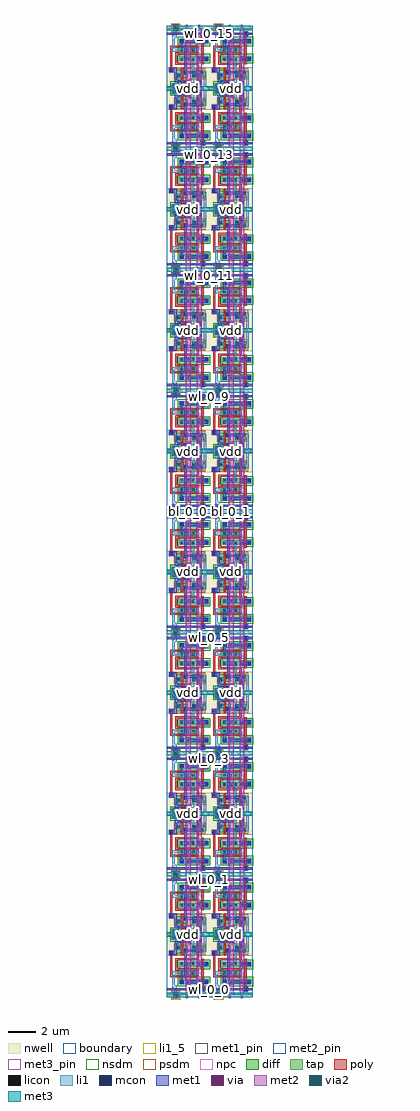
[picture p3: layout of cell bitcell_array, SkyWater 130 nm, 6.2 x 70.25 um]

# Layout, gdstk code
import gdstk
lib = gdstk.Library(unit=1e-6, precision=1e-09)
def R(c, l, rs):  # rectangles x0, y0, x1, y1
    for r in rs: c.add(gdstk.rectangle(r[:2], r[2:], *l))
def A(c, l, x, y, w, h, nx, ny, dx, dy):  # array of equal rectangles
    R(c, l, [(x+i*dx, y+j*dy, x+i*dx+w, y+j*dy+h) for i in range(nx) for j in range(ny)])
nwell = (64, 20)
diff = (65, 20)
tap = (65, 44)
poly = (66, 20)
licon = (66, 44)
li1_5 = (67, 5)
li1 = (67, 20)
mcon = (67, 44)
met1_pin = (68, 16)
met1 = (68, 20)
via = (68, 44)
met2_pin = (69, 16)
met2 = (69, 20)
via2 = (69, 44)
met3_pin = (70, 16)
met3 = (70, 20)
nsdm = (93, 44)
psdm = (94, 20)
npc = (95, 20)
boundary = (235, 4)

cell_1rw = lib.new_cell('cell_1rw')
R(cell_1rw, nwell, [(0,2.83,3.08,4.68)])
R(cell_1rw, diff, [(0.9,0.76,2.99,1.18), (0.9,1.18,2.16,1.99), (0.9,1.99,2.99,2.41), (0.66,3.02,1.51,3.57), (1.79,3.02,2.64,3.57)])
R(cell_1rw, tap, [(0.42,-0.2,0.83,0.21), (0.36,3.97,0.89,4.5)])
R(cell_1rw, poly, [(2.41,0.25,2.74,0.33), (0,0.33,3.08,0.48), (2.41,0.48,2.74,0.58), (2.5,0.58,2.65,2.6), (0.24,1.26,2.29,1.41), (0.24,1.41,0.39,2.86), (0.6,1.76,2.29,1.91), (0.6,1.91,0.75,2.5), (0.6,2.5,2.29,2.65), (2.14,2.65,2.29,3.75), (0.15,2.86,0.48,3.19), (1.01,2.87,1.16,3.83), (1.4,3.75,1.73,3.83), (2.14,3.75,2.47,4.08), (1.01,3.83,1.73,3.98), (1.4,3.98,1.73,4.08)])
A(cell_1rw, licon, 0.98, 0.84, 0.17, 0.17, 1, 3, 0, 0.66)
R(cell_1rw, licon, [(0.54,-0.08,0.71,0.09), (2.49,0.33,2.66,0.5), (2.24,0.84,2.41,1.01), (2.75,0.84,2.92,1.01), (1.41,1.5,1.58,1.67), (1.79,1.5,1.96,1.67), (1.44,2.16,1.61,2.33), (1.79,2.16,1.96,2.33), (2.74,2.16,2.91,2.33), (0.23,2.94,0.4,3.11), (1.26,3.1,1.43,3.27), (2.39,3.1,2.56,3.27), (0.74,3.32,0.91,3.49), (1.87,3.32,2.04,3.49), (1.48,3.83,1.65,4), (2.22,3.83,2.39,4), (0.54,4.15,0.71,4.32)])
R(cell_1rw, li1_5, [(1.2,3.12,1.34,3.25), (1.86,3.4,2,3.53)])
R(cell_1rw, li1, [(0.46,-0.16,0.79,-0.08), (0.45,-0.08,0.8,0.09), (0.46,0.09,0.79,0.17), (0.54,0.17,0.71,0.52), (2.41,0.25,2.74,0.58), (0.39,0.52,0.71,0.69), (0.39,0.69,0.56,1.53), (0.9,0.76,2.45,1.09), (2.67,0.76,2.99,1.17), (0.9,1.42,2.04,1.53), (0.39,1.53,2.04,1.7), (0.9,1.7,2.04,1.75), (2.66,1.99,2.99,2.41), (0.9,2.08,2.24,2.41), (1.79,2.41,1.96,3.24), (0.15,2.86,0.48,3.19), (1.18,3.02,1.51,3.35), (2.31,3.02,2.64,3.1), (2.31,3.1,2.81,3.35), (0.66,3.24,0.99,3.57), (1.79,3.24,2.12,3.57), (2.64,3.35,2.81,4.28), (0.73,3.57,0.9,4.07), (1.79,3.57,1.96,3.75), (1.4,3.75,1.96,3.93), (2.14,3.75,2.47,4.08), (1.4,3.93,1.73,4.08), (0.46,4.07,0.9,4.28), (0,4.28,3.08,4.45)])
R(cell_1rw, mcon, [(0.54,-0.08,0.71,0.09), (2.49,0.33,2.66,0.5), (0.98,0.84,1.15,1.01), (2.75,0.84,2.92,1.01), (2.74,2.16,2.91,2.33), (0.23,2.94,0.4,3.11), (1.26,3.1,1.43,3.27), (1.48,3.83,1.65,4), (2.22,3.83,2.39,4), (0.54,4.15,0.71,4.32)])
R(cell_1rw, met1_pin, [(2.52,0.36,2.69,0.51)])
R(cell_1rw, met1, [(0.45,-0.17,0.8,0.18), (2.43,0.27,2.72,0.33), (0,0.33,3.08,0.48), (0,0.33,3.08,0.48), (2.43,0.48,2.72,0.56), (1.36,0.75,1.71,0.84), (0.92,0.78,1.21,1.07), (2.69,0.78,2.98,0.84), (1.36,0.84,2.98,1.01), (1.36,1.01,1.71,1.1), (2.69,1.01,2.98,1.07), (0.98,1.07,1.15,1.25), (0.98,1.25,1.43,1.39), (1.26,1.39,1.43,3.04), (2.15,2.07,2.5,2.16), (2.68,2.1,2.97,2.16), (2.15,2.16,2.97,2.33), (2.15,2.33,2.5,2.42), (2.68,2.33,2.97,2.39), (0.15,2.86,0.72,3.19), (1.2,3.04,1.49,3.1), (1.2,3.1,2.39,3.27), (0.56,3.19,0.72,3.75), (1.2,3.27,1.49,3.33), (2.22,3.27,2.39,3.77), (0.56,3.75,1.43,3.77), (0.56,3.77,1.71,3.91), (2.16,3.77,2.45,4.06), (1.42,3.91,1.71,4.06), (0.45,4.06,0.8,4.41)])
R(cell_1rw, via, [(0.55,-0.07,0.7,0.08), (1.46,0.85,1.61,1), (2.25,2.17,2.4,2.32), (0.55,4.16,0.7,4.31)])
R(cell_1rw, met2_pin, [(1.42,0.84,1.59,0.99), (2.22,2.14,2.39,2.29)])
R(cell_1rw, met2, [(1.36,-0.24,1.5,0.75), (2.24,-0.24,2.38,2.07), (0.4,-0.22,0.85,0.23), (1.36,0.75,1.71,1.1), (1.36,0.75,1.71,1.1), (1.36,1.1,1.5,4.68), (2.15,2.07,2.5,2.42), (2.15,2.07,2.5,2.42), (2.24,2.42,2.38,4.68), (0.4,4.01,0.85,4.46)])
R(cell_1rw, via2, [(0.525,-0.095,0.725,0.105), (0.525,4.135,0.725,4.335)])
R(cell_1rw, met3_pin, [(0.51,-0.09,0.68,0.06), (0.55,4.21,0.72,4.36)])
R(cell_1rw, met3, [(0.38,-0.24,0.86,-0.15), (0,-0.15,3.08,0.15), (0,-0.15,3.08,0.15), (0.38,0.15,0.87,0.25), (0.36,3.97,0.89,4.2), (0,4.2,3.08,4.5), (0,4.2,3.08,4.5)])
R(cell_1rw, nsdm, [(0.775,0.635,3.115,1.305), (0.775,1.305,2.285,1.865), (0.775,1.865,3.115,2.535), (0.235,3.845,1.015,4.625)])
R(cell_1rw, psdm, [(0.295,-0.325,0.955,0.335), (0.535,2.895,2.765,3.695)])
R(cell_1rw, npc, [(2.39,0.23,2.76,0.6), (0.13,2.84,0.5,3.21), (1.38,3.73,1.75,4.1), (2.12,3.73,2.49,4.1)])
R(cell_1rw, boundary, [(0,0,3.08,4.35)])
cell_1rw.add(gdstk.Label('Q_bar', (1.93,3.465), layer=67, texttype=5))
cell_1rw.add(gdstk.Label('Q', (1.27,3.185), layer=67, texttype=5))
cell_1rw.add(gdstk.Label('bl', (1.505,0.915), layer=69, texttype=16))
cell_1rw.add(gdstk.Label('br', (2.305,2.215), layer=69, texttype=16))
cell_1rw.add(gdstk.Label('wl', (2.605,0.435), layer=68, texttype=16))
cell_1rw.add(gdstk.Label('vdd', (0.635,4.285), layer=70, texttype=16))
cell_1rw.add(gdstk.Label('gnd', (0.595,-0.015), layer=70, texttype=16))
cell_1rw.add(gdstk.Label('bl', (1.535,0.925), layer=69, texttype=20))
cell_1rw.add(gdstk.Label('br', (2.325,2.245), layer=69, texttype=20))
cell_1rw.add(gdstk.Label('wl', (1.54,0.405), layer=68, texttype=20))
cell_1rw.add(gdstk.Label('vdd', (1.54,4.35), layer=70, texttype=20))
cell_1rw.add(gdstk.Label('gnd', (1.54,0), layer=70, texttype=20))

bitcell_array = lib.new_cell('bitcell_array')
R(bitcell_array, met1, [(0,0.33,6.16,0.48), (0,8.22,6.16,8.37), (0,9.03,6.16,9.18), (0,16.92,6.16,17.07), (0,17.73,6.16,17.88), (0,25.62,6.16,25.77), (0,26.43,6.16,26.58), (0,34.32,6.16,34.47), (0,35.13,6.16,35.28), (0,43.02,6.16,43.17), (0,43.83,6.16,43.98), (0,51.72,6.16,51.87), (0,52.53,6.16,52.68), (0,60.42,6.16,60.57), (0,61.23,6.16,61.38), (0,69.12,6.16,69.27)])
R(bitcell_array, met2, [(1.36,0,1.71,69.6), (2.15,0,2.5,69.6), (4.44,0,4.79,69.6), (5.23,0,5.58,69.6)])
A(bitcell_array, met3, 0, 4.2, 3.08, 0.3, 1, 3, 0, 4.35)
A(bitcell_array, met3, 3.08, 4.2, 3.08, 0.3, 1, 3, 0, 4.35)
A(bitcell_array, met3, 0, 12.9, 3.08, 0.3, 1, 5, 0, 4.35)
A(bitcell_array, met3, 3.08, 12.9, 3.08, 0.3, 1, 5, 0, 4.35)
A(bitcell_array, met3, 0, 30.3, 3.08, 0.3, 1, 3, 0, 4.35)
A(bitcell_array, met3, 3.08, 30.3, 3.08, 0.3, 1, 3, 0, 4.35)
A(bitcell_array, met3, 0, 39, 3.08, 0.3, 1, 5, 0, 4.35)
A(bitcell_array, met3, 3.08, 39, 3.08, 0.3, 1, 5, 0, 4.35)
A(bitcell_array, met3, 0, 56.4, 3.08, 0.3, 1, 3, 0, 4.35)
A(bitcell_array, met3, 3.08, 56.4, 3.08, 0.3, 1, 3, 0, 4.35)
R(bitcell_array, met3, [(0,-0.15,3.08,0.15), (3.08,-0.15,6.16,0.15), (0,4.2,3.08,4.5), (3.08,4.2,6.16,4.5), (0,65.1,3.08,65.4), (3.08,65.1,6.16,65.4), (0,69.45,3.08,69.75), (3.08,69.45,6.16,69.75)])
R(bitcell_array, boundary, [(0,0,6.16,69.6)])
bitcell_array.add(gdstk.Reference(cell_1rw, (0,0)))
bitcell_array.add(gdstk.Reference(cell_1rw, (0,8.7), x_reflection=True))
bitcell_array.add(gdstk.Reference(cell_1rw, (0,8.7)))
bitcell_array.add(gdstk.Reference(cell_1rw, (0,17.4), x_reflection=True))
bitcell_array.add(gdstk.Reference(cell_1rw, (0,17.4)))
bitcell_array.add(gdstk.Reference(cell_1rw, (0,26.1), x_reflection=True))
bitcell_array.add(gdstk.Reference(cell_1rw, (0,26.1)))
bitcell_array.add(gdstk.Reference(cell_1rw, (0,34.8), x_reflection=True))
bitcell_array.add(gdstk.Reference(cell_1rw, (0,34.8)))
bitcell_array.add(gdstk.Reference(cell_1rw, (0,43.5), x_reflection=True))
bitcell_array.add(gdstk.Reference(cell_1rw, (0,43.5)))
bitcell_array.add(gdstk.Reference(cell_1rw, (0,52.2), x_reflection=True))
bitcell_array.add(gdstk.Reference(cell_1rw, (0,52.2)))
bitcell_array.add(gdstk.Reference(cell_1rw, (0,60.9), x_reflection=True))
bitcell_array.add(gdstk.Reference(cell_1rw, (0,60.9)))
bitcell_array.add(gdstk.Reference(cell_1rw, (0,69.6), x_reflection=True))
bitcell_array.add(gdstk.Reference(cell_1rw, (3.08,0)))
bitcell_array.add(gdstk.Reference(cell_1rw, (3.08,8.7), x_reflection=True))
bitcell_array.add(gdstk.Reference(cell_1rw, (3.08,8.7)))
bitcell_array.add(gdstk.Reference(cell_1rw, (3.08,17.4), x_reflection=True))
bitcell_array.add(gdstk.Reference(cell_1rw, (3.08,17.4)))
bitcell_array.add(gdstk.Reference(cell_1rw, (3.08,26.1), x_reflection=True))
bitcell_array.add(gdstk.Reference(cell_1rw, (3.08,26.1)))
bitcell_array.add(gdstk.Reference(cell_1rw, (3.08,34.8), x_reflection=True))
bitcell_array.add(gdstk.Reference(cell_1rw, (3.08,34.8)))
bitcell_array.add(gdstk.Reference(cell_1rw, (3.08,43.5), x_reflection=True))
bitcell_array.add(gdstk.Reference(cell_1rw, (3.08,43.5)))
bitcell_array.add(gdstk.Reference(cell_1rw, (3.08,52.2), x_reflection=True))
bitcell_array.add(gdstk.Reference(cell_1rw, (3.08,52.2)))
bitcell_array.add(gdstk.Reference(cell_1rw, (3.08,60.9), x_reflection=True))
bitcell_array.add(gdstk.Reference(cell_1rw, (3.08,60.9)))
bitcell_array.add(gdstk.Reference(cell_1rw, (3.08,69.6), x_reflection=True))
bitcell_array.add(gdstk.Label('bl_0_0', (1.535,34.8), layer=69, texttype=20))
bitcell_array.add(gdstk.Label('br_0_0', (2.325,34.8), layer=69, texttype=20))
bitcell_array.add(gdstk.Label('bl_0_1', (4.615,34.8), layer=69, texttype=20))
bitcell_array.add(gdstk.Label('br_0_1', (5.405,34.8), layer=69, texttype=20))
bitcell_array.add(gdstk.Label('wl_0_0', (3.08,0.405), layer=68, texttype=20))
bitcell_array.add(gdstk.Label('wl_0_1', (3.08,8.295), layer=68, texttype=20))
bitcell_array.add(gdstk.Label('wl_0_2', (3.08,9.105), layer=68, texttype=20))
bitcell_array.add(gdstk.Label('wl_0_3', (3.08,16.995), layer=68, texttype=20))
bitcell_array.add(gdstk.Label('wl_0_4', (3.08,17.805), layer=68, texttype=20))
bitcell_array.add(gdstk.Label('wl_0_5', (3.08,25.695), layer=68, texttype=20))
bitcell_array.add(gdstk.Label('wl_0_6', (3.08,26.505), layer=68, texttype=20))
bitcell_array.add(gdstk.Label('wl_0_7', (3.08,34.395), layer=68, texttype=20))
bitcell_array.add(gdstk.Label('wl_0_8', (3.08,35.205), layer=68, texttype=20))
bitcell_array.add(gdstk.Label('wl_0_9', (3.08,43.095), layer=68, texttype=20))
bitcell_array.add(gdstk.Label('wl_0_10', (3.08,43.905), layer=68, texttype=20))
bitcell_array.add(gdstk.Label('wl_0_11', (3.08,51.795), layer=68, texttype=20))
bitcell_array.add(gdstk.Label('wl_0_12', (3.08,52.605), layer=68, texttype=20))
bitcell_array.add(gdstk.Label('wl_0_13', (3.08,60.495), layer=68, texttype=20))
bitcell_array.add(gdstk.Label('wl_0_14', (3.08,61.305), layer=68, texttype=20))
bitcell_array.add(gdstk.Label('wl_0_15', (3.08,69.195), layer=68, texttype=20))
bitcell_array.add(gdstk.Label('vdd', (1.54,39.15), layer=70, texttype=20))
bitcell_array.add(gdstk.Label('vdd', (1.54,13.05), layer=70, texttype=20))
bitcell_array.add(gdstk.Label('vdd', (1.54,13.05), layer=70, texttype=20))
bitcell_array.add(gdstk.Label('vdd', (1.54,47.85), layer=70, texttype=20))
bitcell_array.add(gdstk.Label('vdd', (1.54,56.55), layer=70, texttype=20))
bitcell_array.add(gdstk.Label('vdd', (4.62,13.05), layer=70, texttype=20))
bitcell_array.add(gdstk.Label('vdd', (4.62,13.05), layer=70, texttype=20))
bitcell_array.add(gdstk.Label('vdd', (1.54,56.55), layer=70, texttype=20))
bitcell_array.add(gdstk.Label('vdd', (4.62,65.25), layer=70, texttype=20))
bitcell_array.add(gdstk.Label('vdd', (4.62,39.15), layer=70, texttype=20))
bitcell_array.add(gdstk.Label('vdd', (4.62,39.15), layer=70, texttype=20))
bitcell_array.add(gdstk.Label('vdd', (1.54,21.75), layer=70, texttype=20))
bitcell_array.add(gdstk.Label('vdd', (1.54,4.35), layer=70, texttype=20))
bitcell_array.add(gdstk.Label('vdd', (1.54,4.35), layer=70, texttype=20))
bitcell_array.add(gdstk.Label('vdd', (4.62,56.55), layer=70, texttype=20))
bitcell_array.add(gdstk.Label('vdd', (4.62,56.55), layer=70, texttype=20))
bitcell_array.add(gdstk.Label('vdd', (4.62,21.75), layer=70, texttype=20))
bitcell_array.add(gdstk.Label('vdd', (1.54,30.45), layer=70, texttype=20))
bitcell_array.add(gdstk.Label('vdd', (1.54,65.25), layer=70, texttype=20))
bitcell_array.add(gdstk.Label('vdd', (4.62,4.35), layer=70, texttype=20))
bitcell_array.add(gdstk.Label('vdd', (4.62,4.35), layer=70, texttype=20))
bitcell_array.add(gdstk.Label('vdd', (1.54,65.25), layer=70, texttype=20))
bitcell_array.add(gdstk.Label('vdd', (4.62,30.45), layer=70, texttype=20))
bitcell_array.add(gdstk.Label('vdd', (4.62,30.45), layer=70, texttype=20))
bitcell_array.add(gdstk.Label('vdd', (4.62,47.85), layer=70, texttype=20))
bitcell_array.add(gdstk.Label('vdd', (1.54,39.15), layer=70, texttype=20))
bitcell_array.add(gdstk.Label('vdd', (1.54,30.45), layer=70, texttype=20))
bitcell_array.add(gdstk.Label('vdd', (4.62,65.25), layer=70, texttype=20))
bitcell_array.add(gdstk.Label('gnd', (1.54,60.9), layer=70, texttype=20))
bitcell_array.add(gdstk.Label('gnd', (1.54,17.4), layer=70, texttype=20))
bitcell_array.add(gdstk.Label('gnd', (1.54,8.7), layer=70, texttype=20))
bitcell_array.add(gdstk.Label('gnd', (4.62,60.9), layer=70, texttype=20))
bitcell_array.add(gdstk.Label('gnd', (4.62,69.6), layer=70, texttype=20))
bitcell_array.add(gdstk.Label('gnd', (4.62,0), layer=70, texttype=20))
bitcell_array.add(gdstk.Label('gnd', (4.62,17.4), layer=70, texttype=20))
bitcell_array.add(gdstk.Label('gnd', (1.54,26.1), layer=70, texttype=20))
bitcell_array.add(gdstk.Label('gnd', (4.62,34.8), layer=70, texttype=20))
bitcell_array.add(gdstk.Label('gnd', (1.54,52.2), layer=70, texttype=20))
bitcell_array.add(gdstk.Label('gnd', (4.62,43.5), layer=70, texttype=20))
bitcell_array.add(gdstk.Label('gnd', (1.54,0), layer=70, texttype=20))
bitcell_array.add(gdstk.Label('gnd', (1.54,69.6), layer=70, texttype=20))
bitcell_array.add(gdstk.Label('gnd', (4.62,8.7), layer=70, texttype=20))
bitcell_array.add(gdstk.Label('gnd', (1.54,34.8), layer=70, texttype=20))
bitcell_array.add(gdstk.Label('gnd', (4.62,26.1), layer=70, texttype=20))
bitcell_array.add(gdstk.Label('gnd', (4.62,52.2), layer=70, texttype=20))
bitcell_array.add(gdstk.Label('gnd', (1.54,43.5), layer=70, texttype=20))

lib.write_gds('bitcell_array.gds')
